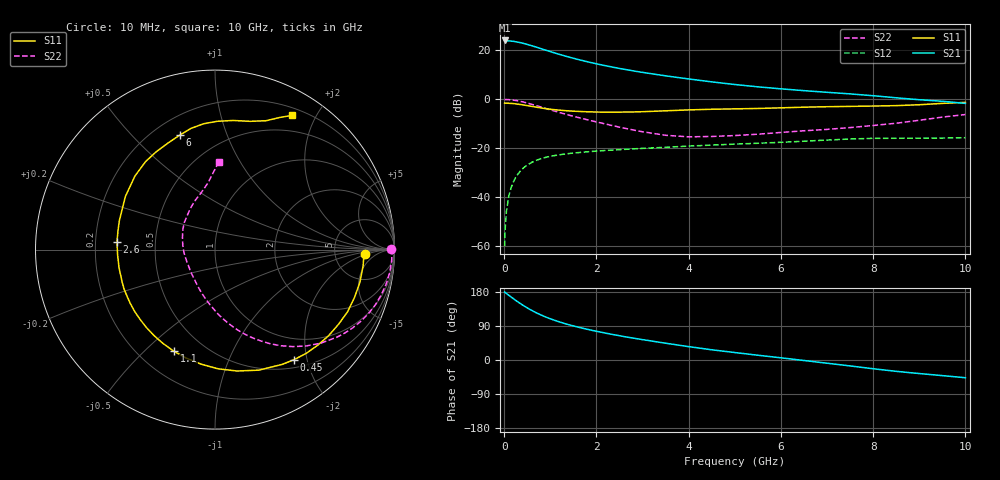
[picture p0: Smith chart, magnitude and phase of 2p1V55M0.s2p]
! (c) 2009  Infineon Technologies AG, Munich
! Infineon Technologies  Discrete & RF Semiconductors
! BFP420
! VCE =  1.5 V,  IC =  5.0 mA
! Common Emitter S-Parameters:  Nov 2009
# GHz  S  MA  R  50
!  f  S11  S21  S12  S22
! GHz  MAG  ANG  MAG  ANG  MAG  ANG  MAG  ANG
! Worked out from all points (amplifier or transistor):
!   46 points, 10 MHz to 10 GHz, reference 50 ohm
!   highest |S21| = 24.0 dB at 10 MHz (marker M1)
!   |S21| within 3 dB of that: start of sweep to 741.5 MHz
!   unconditionally stable (mu >= 1): 2.97 GHz to end of sweep
!   at 300 MHz: K = 0.10, MSG = 26.9 dB, |S12| = -30.5 dB
!   at 1.7 GHz: K = 0.60, MSG = 18.7 dB, |S12| = -21.6 dB
!   at 10 GHz: K = 1.12, MAG = 4.9 dB, |S12| = -15.7 dB
!   lowest NFmin = 0.66 dB at 900 MHz
!   S11 on the Smith chart (normalised r, x): 10 MHz: 11, -2; 450 MHz: 0.62, -1.78; 1.1 GHz: 0.34, -0.62; 2.6 GHz: 0.29, +0.04; 6 GHz: 0.30, +0.69; 10 GHz: 0.29, +1.69
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0.01  0.8377 -1.7  15.87 179.3  0.001 86.2  0.9824 0.2
0.02  0.8302 -2.5  15.5 178.4  0.0021 91.6  0.9869 -1.5
0.1  0.8277 -12.6  15.55 170.9  0.0104 83.7  0.9812 -7.8
0.2  0.8159 -25.1  15.21 161.9  0.0204 77.1  0.9595 -15.4
0.25  0.8044 -31.1  14.91 157.3  0.0253 74.1  0.9446 -19.1
0.35  0.7817 -43.0  14.31 149.1  0.0341 68.0  0.9058 -26.1
0.45  0.755 -54.3  13.57 141.3  0.0419 62.6  0.8607 -32.6
0.6  0.7147 -70.0  12.37 130.7  0.0515 55.5  0.7876 -41.4
0.7  0.6876 -79.7  11.56 124.4  0.0567 51.5  0.739 -46.6
0.9  0.643 -96.9  10.07 113.5  0.0649 44.9  0.649 -55.6
1.1  0.6109 -112.0  8.797 104.5  0.071 39.9  0.571 -63.2
1.4  0.5784 -131.3  7.285 93.1  0.0778 34.3  0.4759 -73.1
1.7  0.5595 -147.4  6.164 83.9  0.0829 30.4  0.4022 -81.6
2.2  0.5441 -169.3  4.834 70.9  0.09 25.6  0.3118 -94.6
2.6  0.5478 175.6  4.096 61.8  0.0947 22.5  0.2574 -106.0
3.5  0.5805 149.3  3.005 44.3  0.1046 17.2  0.1838 -136.9
4.5  0.6247 128.2  2.265 27.0  0.1159 11.5  0.1738 -174.3
5.5  0.6486 113.9  1.793 12.6  0.1263 6.5  0.1935 159.6
6  0.6677 107.1  1.632 5.8  0.1321 4.0  0.2099 148.7
7  0.7039 95.2  1.386 -8.5  0.1467 -2.4  0.2423 130.3
8.5  0.7409 74.7  1.07 -29.9  0.1596 -16.0  0.3239 104.1
10  0.8619 60.1  0.823 -46.8  0.1639 -24.8  0.487 87.6
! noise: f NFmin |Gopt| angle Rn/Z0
0.9  0.66  0.21  31  0.15
1.8  1.05  0.09  93  0.13
2.4  1.14  0.14  119  0.13
3  1.24  0.17  165  0.11
4  1.41  0.31  -145  0.12
5  1.85  0.38  -119  0.21
6  2.3  0.45  -101  0.36
